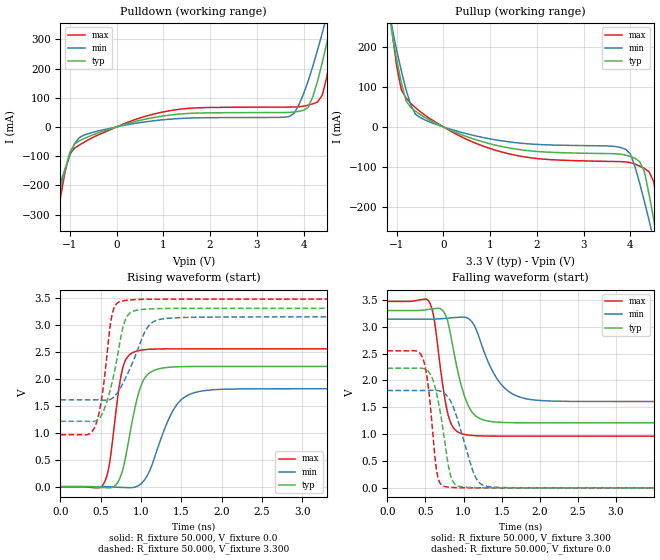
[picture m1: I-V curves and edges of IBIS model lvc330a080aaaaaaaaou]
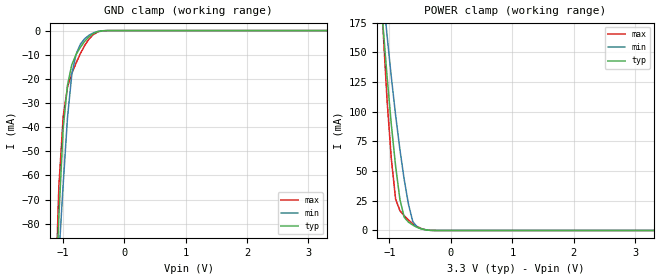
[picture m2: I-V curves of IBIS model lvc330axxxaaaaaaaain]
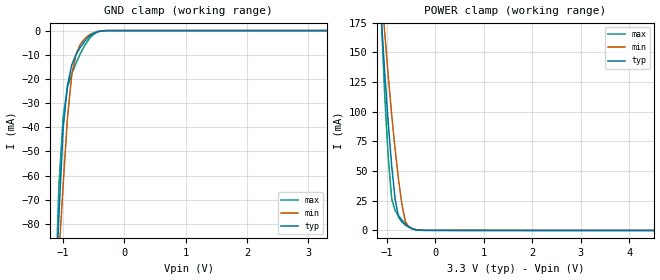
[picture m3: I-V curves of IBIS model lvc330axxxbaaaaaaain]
| IBIS Models Generator: Lattice Radiant Software (64-bit) 3.2.0.18.0
| Report Generate Date: Aug  08:52:01 2023
| Report Generate Time: 6
|IBIS file ice40up.ibs
|Lattice Semiconductor Corporation
[IBIS ver]   4.2
[File Name]   Ouah_Ouah_v7_printed_circuit.ibs
[File Rev]   2.0
[Date]   1/26/2018
[Source]   Simulation
[Notes]   Final IBIS models
   The data below was generated using simulation of the
   input/output model files for the silicon.  Therefore,
   the data below is for reference and initial design
   purposes only.
|   The model applies to iCE40 ULTRA PLUS.
   Lattice Semiconductor grants permission to use this
   data for use in printed circuit design using this
   Lattice programmable logic device.  Other use of this
   code, including the selling or duplication of any
   portion is strictly prohibited.
|   NAMING CONVENTION
   The IBIS [Model] header is limited by the specification to a
   total of characters.  With such a set of characters available
   for naming models it becomes important to attempt to
   meaningfully encode the IO standards so they fit within the
   twenty character limit.  It would seem that twenty characters
   would provide room enough for describing IO's.  However, the
   PLD IO structure continues to grow more and more complex.  The
   complexity is making the twenty characters insuffiently
   descriptive.  In order to overcome this issue the naming
   convention described below is implemented to resolve the issue.
The twenty character space is managed as follows:
   bbbvvvsdddprtaaaoixx
   b = standard
   v = voltage (x.xx V)
   s = slew code
   d = drive (xx.x ma)
   p = pullmode code
   r = impedance
   t = mipi hard dphy mode
   o = diff resistor code
   i = diff  current code
   x = reserved
   standard
   LVCMOS   lvc
   lvdse   lve
   slew
   na   a
   fast   f
   slow   s
   pullmode
   off   a
   100k   b
   3p3k   i
   6p8k   j
   10k   k
   impedance
   off   a
   mipi hard dphy mode
   off   a
   lp   l
   hs   h
   differential resistor
   off   a
   100   b
   differential current
   NA   a
   3.5   c
   Reserved   IO type
   in   input only (mipi: rx)
   ou   output (mipi: tx)
   io   I/O
   od   Open drain
   on   Inverting differential I/O
   (signal name only)
   op   Non-Inverting differential I/O
   (signal name only)
   Lattice Semiconductor Corporation
   5555 NE Moore Court
   Hillsboro, OR 97214
   U.S.A
   TEL: 1-800-Lattice (USA and Canada)
   408-826-6000 (other locations)
   web: http://www.latticesemi.com/
   email: techsupport@latticesemi.com
[Disclaimer] This IBIS source code is intended as a design reference
   which illustrates how the Lattice Semiconductor device operates.
   It is the user's responsibility to verify their design for
   consistency and functionality through the use of formal
   verification methods.  Lattice Semiconductor provides no warranty
   regarding the use or functionality of this data.
[Copyright]   Copyright 2018 by Lattice Semiconductor Corporation
|   Component ice40_ultra_plus
[Component]   ice40_ultra_plus
[Manufacturer]   UMC
[Package]
| SG48
| variable   Typ   Min   Max
R_pkg   294.15m   225.91m   395.17m
L_pkg   2.652nH   1.989nH   3.504nH
C_pkg   0.2807pF   0.2236pF   0.3481pF
[Pin]  signal_name   model_name   R_pin   L_pin   C_pin
12   dcf77   lvc330axxxaaaaaaaain
10   pb0   lvc330axxxbaaaaaaain
20   clk   lvc330axxxbaaaaaaain
6   ledday[0]   lvc330a080aaaaaaaaou
23   ledday[1]   lvc330a080aaaaaaaaou
25   ledday[2]   lvc330a080aaaaaaaaou
26   ledday[3]   lvc330a080aaaaaaaaou
27   ledday[4]   lvc330a080aaaaaaaaou
32   ledday[5]   lvc330a080aaaaaaaaou
35   ledday[6]   lvc330a080aaaaaaaaou
44   select7seg[0]   lvc330a080aaaaaaaaou
4   select7seg[1]   lvc330a080aaaaaaaaou
3   select7seg[2]   lvc330a080aaaaaaaaou
48   select7seg[3]   lvc330a080aaaaaaaaou
46   select7seg[4]   lvc330a080aaaaaaaaou
2   select7seg[5]   lvc330a080aaaaaaaaou
45   select7seg[6]   lvc330a080aaaaaaaaou
47   select7seg[7]   lvc330a080aaaaaaaaou
38   segment[0]   lvc330a080aaaaaaaaou
42   segment[1]   lvc330a080aaaaaaaaou
36   segment[2]   lvc330a080aaaaaaaaou
43   segment[3]   lvc330a080aaaaaaaaou
34   segment[4]   lvc330a080aaaaaaaaou
37   segment[5]   lvc330a080aaaaaaaaou
31   segment[6]   lvc330a080aaaaaaaaou
18   sframe   lvc330a080aaaaaaaaou
19   sdcf77   lvc330a080aaaaaaaaou
13   pinms   lvc330a080aaaaaaaaou
| Models and submodels in the file (3): lvc330a080aaaaaaaaou (Output), lvc330axxxaaaaaaaain (Input), lvc330axxxbaaaaaaain (Input)
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[Model] lvc330a080aaaaaaaaou
Model_type Output
Polarity   Non-Inverting
Vmeas =  1.650V
Cref =  0.0F
Rref =  1.000M
Vref =  0.0V
C_comp   5.000pF   4.000pF   5.500pF
[Temperature Range]   25.000   0.125k   -40.000
[Voltage Range]   3.300V   3.140V   3.470V
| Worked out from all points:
|   slope of the pulldown table from 0 to 0.495 V, typ, clamps not added: 22.2 ohm
|   slope of the pullup table from 0 to 0.495 V, typ, clamps not added: 20.5 ohm
|   rising waveform, R_fixture 50.000, V_fixture 0.0: 20-80 % time 185ps typ, 288ps min, 134ps max; typ from 0 V to 2.23 V
|   rising waveform, R_fixture 50.000, V_fixture 3.300: 20-80 % time 178ps typ, 261ps min, 124ps max; typ from 1.21 V to 3.3 V
|   falling waveform, R_fixture 50.000, V_fixture 3.300: 20-80 % time 207ps typ, 307ps min, 149ps max; typ from 3.3 V to 1.21 V
|   falling waveform, R_fixture 50.000, V_fixture 0.0: 20-80 % time 154ps typ, 231ps min, 107ps max; typ from 2.23 V to 0 V
[Pulldown]
|Voltage   I(typ)   I(min)   I(max)
-3.3V     -1.776A    -1.307A    -2.431A
-1.5V     -423.6mA   -342.8mA   -538.4mA
-1.4V     -351.5mA   -291.1mA   -437.4mA
-1.3V     -280.6mA   -240.3mA   -338.1mA
-1V       -86.97mA   -97.65mA   -93.09mA
-600mV    -33.08mA   -22.8mA    -43.84mA
1.2V      41.65mA    27.29mA    57.19mA
3.7V      49.78mA    35.79mA    67.98mA
4.1V      66.56mA    157.4mA    74.46mA
4.5V      288.6mA    381.2mA    171.9mA
4.7V      439.3mA    507.4mA    377.8mA
6.6V      2.168A     1.924A     3.534A
[Pullup]
|Voltage   I(typ)   I(min)   I(max)
-3.3V     2.151A     1.834A     3.789A
-1.1V     235.9mA    249.4mA    241.7mA
-900mV    110.8mA    140.5mA    92.9mA
-700mV    49.1mA     55.83mA    59.51mA
-500mV    31.42mA    23.54mA    38.71mA
1.3V      -50.32mA   -35.76mA   -64.44mA
3.8V      -68.46mA   -51.76mA   -86.99mA
4V        -74.06mA   -67.96mA   -89.6mA
4.2V      -87.28mA   -141.6mA   -98.17mA
4.5V      -232.6mA   -283.4mA   -137mA
4.7V      -369.1mA   -384.5mA   -298.2mA
6.6V      -1.78A     -1.393A    -2.261A
[Ramp]
| variable   typ   min   max
dV/dt_r   1.335/0.193n   1.087/0.297n   1.530/0.140n
dV/dt_f   1.255/0.212n   0.920/0.311n   1.505/0.156n
R_load = 50.000
[Rising Waveform]
R_fixture= 50.000
V_fixture= 0.0
V_fixture_min= 0.0
V_fixture_max= 0.0
|time   V(typ)   V(min)   V(max)
0s        0V         0V         0V
536ps     -16.16mV   759.6uV    52.64mV
606ps     -21.46mV   -2.929mV   401.5mV
725ps     115.9mV    -11.53mV   1.805V
775ps     321mV      -14.23mV   2.204V
999ps     1.864V     52.71mV    2.526V
1.129ns   2.127V     373.8mV    2.543V
1.414ns   2.215V     1.45V      2.55V
1.764ns   2.225V     1.772V     2.55V
10ns      2.225V     1.812V     2.55V
[Rising Waveform]
R_fixture= 50.000
V_fixture= 3.300
V_fixture_min= 3.140
V_fixture_max= 3.470
|time   V(typ)   V(min)   V(max)
0s        1.209V     1.607V     962.5mV
332ps     1.209V     1.607V     963mV
426ps     1.21V      1.607V     1.102V
516ps     1.34V      1.604V     1.673V
641ps     1.928V     1.633V     3.18V
789ps     3.016V     1.951V     3.442V
874ps     3.224V     2.222V     3.456V
1.074ns   3.286V     2.93V      3.468V
1.334ns   3.298V     3.115V     3.47V
10ns      3.3V       3.14V      3.47V
[Falling Waveform]
R_fixture= 50.000
V_fixture= 3.300
V_fixture_min= 3.140
V_fixture_max= 3.470
|time   V(typ)   V(min)   V(max)
0s        3.3V       3.14V      3.47V
548ps     3.323V     3.139V     3.464V
612ps     3.334V     3.141V     3.159V
730ps     3.297V     3.15V      1.883V
801ps     3.05V      3.159V     1.342V
1.038ns   1.61V      3.168V     988mV
1.184ns   1.314V     2.882V     969.4mV
1.489ns   1.22V      1.935V     963mV
1.938ns   1.21V      1.634V     962.5mV
10ns      1.209V     1.607V     962.5mV
[Falling Waveform]
R_fixture= 50.000
V_fixture= 0.0
V_fixture_min= 0.0
V_fixture_max= 0.0
|time   V(typ)   V(min)   V(max)
0s        2.225V     1.812V     2.55V
464ps     2.224V     1.812V     2.415V
532ps     2.176V     1.814V     1.949V
651ps     1.728V     1.813V     287.9mV
772ps     678.2mV    1.729V     19.5mV
833ps     216.8mV    1.605V     10.3mV
894ps     59.61mV    1.393V     5.856mV
1.146ns   4.774mV    233.2mV    594.5uV
1.315ns   1.376mV    26.01mV    127.7uV
10ns      0V         0V         0V
[Model] lvc330axxxaaaaaaaain
Model_type Input
Polarity   Non-Inverting
Vinl =  0.800V
Vinh =  2.000V
C_comp   3.30pF   3.17pF   3.43pF
[Temperature Range]   25.000   0.125k   -40.000
[Voltage Range]   3.300V   3.140V   3.470V
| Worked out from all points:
|   GND clamp passes 1 mA (typ) near -0.48 V on its own axis
|   POWER clamp passes 1 mA (typ) near -0.46 V on its own axis
[GND_clamp]
|Voltage   I(typ)   I(min)   I(max)
-3.3V     -1.71A     -1.258A    -2.349A
-1.13V    -119.4mA   -124.8mA   -120.4mA
-1.06V    -76.91mA   -93.41mA   -64.42mA
-990mV    -40.37mA   -63.68mA   -35.65mA
-920mV    -22.62mA   -36.09mA   -23.42mA
-850mV    -14.16mA   -18.16mA   -17.82mA
-780mV    -9.927mA   -9.751mA   -13.44mA
-710mV    -6.91mA    -5.613mA   -9.526mA
-640mV    -4.44mA    -3.389mA   -6.157mA
-500mV    -1.202mA   -949.6uA   -1.652mA
-290mV    -17.25uA   -20.48uA   -19.31uA
3.3V      0A         0A         0A
[POWER_clamp]
|Voltage   I(typ)   I(min)   I(max)
-3.3V     2.101A     1.758A     3.757A
-1.11V    175.8mA    202.2mA    175mA
-1.04V    130.5mA    164.8mA    110.8mA
-970mV    89.45mA    129.5mA    60.76mA
-900mV    54.3mA     97.15mA    26.5mA
-830mV    26.3mA     68.21mA    16.62mA
-760mV    11.08mA    42.94mA    12.4mA
-690mV    7.003mA    21.99mA    8.787mA
-620mV    4.527mA    7.423mA    5.723mA
-550mV    2.623mA    2.943mA    3.295mA
-270mV    19.59uA    47.33uA    15.48uA
3.3V      0A         0A         0A
[Model] lvc330axxxbaaaaaaain
Model_type Input
Polarity   Non-Inverting
Vinl =  0.800V
Vinh =  2.000V
C_comp   3.30pF   3.17pF   3.43pF
[Temperature Range]   25.000   0.125k   -40.000
[Voltage Range]   3.300V   3.140V   3.470V
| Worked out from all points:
|   GND clamp passes 1 mA (typ) near -0.48 V on its own axis
|   POWER clamp passes 1 mA (typ) near -0.45 V on its own axis
[GND_clamp]
|Voltage   I(typ)   I(min)   I(max)
-3.3V     -1.71A     -1.258A    -2.349A
-1.13V    -119.4mA   -124.7mA   -120.3mA
-1.06V    -76.88mA   -93.37mA   -64.39mA
-990mV    -40.35mA   -63.65mA   -35.62mA
-920mV    -22.6mA    -36.07mA   -23.38mA
-850mV    -14.14mA   -18.14mA   -17.79mA
-780mV    -9.909mA   -9.739mA   -13.41mA
-710mV    -6.894mA   -5.603mA   -9.501mA
-640mV    -4.428mA   -3.381mA   -6.138mA
-500mV    -1.198mA   -946.9uA   -1.648mA
-290mV    -17.2uA    -20.27uA   -19.28uA
3.3V      0A         0A         0A
[POWER_clamp]
|Voltage   I(typ)   I(min)   I(max)
-3.3V     2.101A     1.758A     3.757A
-1.11V    175.9mA    202.3mA    175mA
-1.04V    130.6mA    164.8mA    110.8mA
-970mV    89.47mA    129.5mA    60.8mA
-900mV    54.32mA    97.15mA    26.56mA
-830mV    26.33mA    68.22mA    16.68mA
-760mV    11.13mA    42.96mA    12.46mA
-690mV    7.047mA    22mA       8.842mA
-620mV    4.569mA    7.445mA    5.774mA
-480mV    1.311mA    1.375mA    1.631mA
-200mV    15.9uA     19.21uA    18.62uA
6.6V      -81.43uA   -54.99uA   -111.7uA
